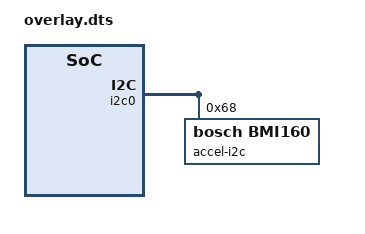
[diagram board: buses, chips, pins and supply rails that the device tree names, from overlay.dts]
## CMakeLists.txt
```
# Copyright 2020 The ChromiumOS Authors
# Use of this source code is governed by a BSD-style license that can be
# found in the LICENSE file.

cmake_minimum_required(VERSION 3.13.1)
find_package(Zephyr REQUIRED HINTS "${ZEPHYR_BASE}")
project(i2c_test)

FILE(GLOB app_sources src/*.c)
target_sources(app PRIVATE ${app_sources})

add_subdirectory(${PLATFORM_EC}/zephyr/test/test_utils test_utils)
```

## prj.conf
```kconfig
# Copyright 2022 The ChromiumOS Authors
# Use of this source code is governed by a BSD-style license that can be
# found in the LICENSE file.

CONFIG_ZTEST=y

CONFIG_PLATFORM_EC=y
CONFIG_CROS_EC=y

CONFIG_EMUL=y
CONFIG_EMUL_BMI160=y
CONFIG_SENSOR=y
CONFIG_BMI160_TRIGGER_NONE=y

# TODO(b/173711210) figure out why SPI is required here when we're not using it.
CONFIG_SPI=y
```

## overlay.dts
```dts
/* Copyright 2020 The Chromium OS Authors. All rights reserved.
 * Use of this source code is governed by a BSD-style license that can be
 * found in the LICENSE file.
 */

/ {
	named-i2c-ports {
		compatible = "named-i2c-ports";
		accel-0 {
			i2c-port = <&i2c0>;
			enum-names = "I2C_PORT_ACCEL";
		};
	};
};

&i2c0 {
	bmi_i2c: bmi@68 {
		compatible = "bosch,bmi160";
		reg = <0x68>;
		label = "accel-i2c";
	};
};
```

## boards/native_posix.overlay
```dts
/* Copyright 2020 The ChromiumOS Authors
 * Use of this source code is governed by a BSD-style license that can be
 * found in the LICENSE file.
 */

#include <board-overlays/native_posix.dts>

/ {
	named-i2c-ports {
		compatible = "named-i2c-ports";
		accel-0 {
			i2c-port = <&i2c0>;
			enum-names = "I2C_PORT_ACCEL";
		};
	};
};

&i2c0 {
	bmi_i2c: bmi@68 {
		compatible = "bosch,bmi160";
		reg = <0x68>;
	};
};
```

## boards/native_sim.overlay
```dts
/* Copyright 2020 The ChromiumOS Authors
 * Use of this source code is governed by a BSD-style license that can be
 * found in the LICENSE file.
 */

#include <board-overlays/native_sim.dts>

/ {
	named-i2c-ports {
		compatible = "named-i2c-ports";
		accel-0 {
			i2c-port = <&i2c0>;
			enum-names = "I2C_PORT_ACCEL";
		};
	};
};

&i2c0 {
	bmi_i2c: bmi@68 {
		compatible = "bosch,bmi160";
		reg = <0x68>;
	};
};
```

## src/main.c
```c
/* Copyright 2020 The ChromiumOS Authors
 * Use of this source code is governed by a BSD-style license that can be
 * found in the LICENSE file.
 */

#include "i2c.h"

#include <zephyr/device.h>
#include <zephyr/devicetree.h>
#include <zephyr/ztest.h>

ZTEST(i2c_bindings, test_i2c_get_device)
{
	const struct device *accel0 = DEVICE_DT_GET(
		DT_PHANDLE(DT_CHILD(NAMED_I2C_PORTS_NODE, accel_0), i2c_port));
	const struct device *bmi_i2c = DEVICE_DT_GET(DT_NODELABEL(i2c0));

	zassert_not_null(accel0, "accel0 was NULL");
	zassert_not_null(bmi_i2c, "bmi_i2c was NULL");
	zassert_equal(
		accel0, bmi_i2c,
		"named_i2c_ports/accel0 and bmi_i2c should resolve to the same device");
}

ZTEST_SUITE(i2c_bindings, NULL, NULL, NULL, NULL, NULL);
```
